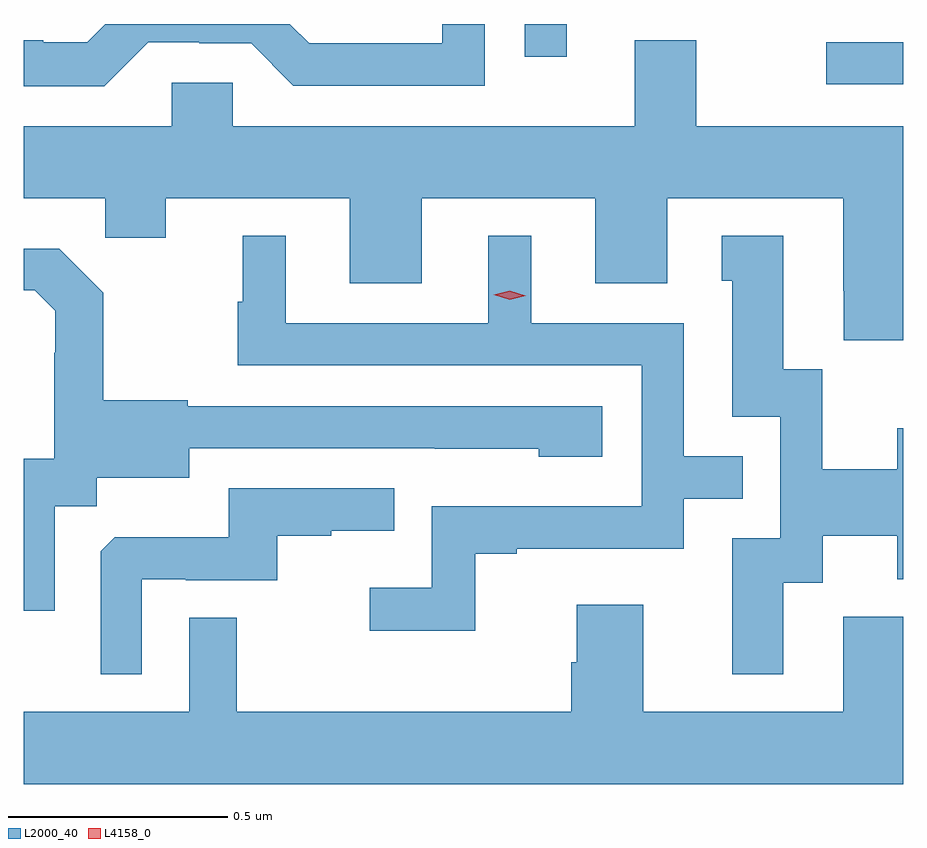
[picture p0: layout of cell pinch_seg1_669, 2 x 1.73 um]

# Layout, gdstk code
import gdstk
lib = gdstk.Library(unit=1e-6, precision=1e-09)
def R(c, l, rs):  # rectangles x0, y0, x1, y1
    for r in rs: c.add(gdstk.rectangle(r[:2], r[2:], *l))
def P(c, l, *ps):  # polygons
    for p in ps: c.add(gdstk.Polygon(p, *l))
L2000_40 = (2000, 40)
L4158_0 = (4158, 0)

pinch_seg1_669 = lib.new_cell('pinch_seg1_669')
R(pinch_seg1_669, L2000_40, [(815.421,575.967,815.596,576.063), (814.735,576.03,814.831,576.104)])
P(pinch_seg1_669, L2000_40, [(813.879,576.063),(813.995,576.063),(813.995,576.06),(814.113,576.06),(814.209,575.964),(814.644,575.964),(814.644,576.104),(814.548,576.104),(814.548,576.06),(814.245,576.06),(814.201,576.104),(813.782,576.104),(813.741,576.063),(813.641,576.063),(813.641,576.067),(813.596,576.067),(813.596,575.963),(813.779,575.963)],
  [(815.596,575.872),(815.125,575.872),(815.125,576.067),(814.985,576.067),(814.985,575.872),(814.071,575.872),(814.071,575.97),(813.933,575.97),(813.933,575.872),(813.596,575.872),(813.596,575.708),(813.781,575.708),(813.781,575.618),(813.919,575.618),(813.919,575.708),(814.337,575.708),(814.337,575.514),(814.501,575.514),(814.501,575.708),(814.895,575.708),(814.895,575.514),(815.059,575.514),(815.059,575.708),(815.459,575.708),(815.459,575.497),(815.46,575.497),(815.46,575.385),(815.596,575.385)],
  [(814.623,574.899),(814.717,574.899),(814.717,574.911),(815.097,574.911),(815.097,575.025),(815.231,575.025),(815.231,575.121),(815.097,575.121),(815.097,575.424),(814.75,575.424),(814.75,575.623),(814.652,575.623),(814.652,575.424),(814.192,575.424),(814.192,575.623),(814.094,575.623),(814.094,575.472),(814.083,575.472),(814.083,575.328),(815.001,575.328),(815.001,575.007),(814.524,575.007),(814.524,574.822),(814.383,574.822),(814.383,574.724),(814.623,574.724)],
  [(815.323,574.834),(815.413,574.834),(815.413,574.94),(815.582,574.94),(815.582,574.841),(815.596,574.841),(815.596,575.185),(815.582,575.185),(815.582,575.092),(815.412,575.092),(815.412,575.319),(815.323,575.319),(815.323,575.623),(815.183,575.623),(815.183,575.52),(815.207,575.52),(815.207,575.211),(815.316,575.211),(815.316,574.935),(815.207,574.935),(815.207,574.626),(815.323,574.626)],
  [(813.667,575.008),(813.762,575.008),(813.762,575.072),(813.973,575.072),(813.973,575.139),(814.531,575.139),(814.531,575.138),(814.767,575.138),(814.767,575.12),(814.912,575.12),(814.912,575.235),(813.969,575.235),(813.969,575.248),(813.777,575.248),(813.777,575.493),(813.677,575.593),(813.596,575.593),(813.596,575.499),(813.621,575.499),(813.668,575.452),(813.668,575.357),(813.666,575.357),(813.666,575.116),(813.596,575.116),(813.596,574.77),(813.667,574.77)],
  [(813.864,574.842),(813.964,574.842),(813.964,574.839),(814.172,574.839),(814.172,574.941),(814.295,574.941),(814.295,574.952),(814.439,574.952),(814.439,575.049),(814.062,575.049),(814.062,574.937),(813.803,574.937),(813.771,574.905),(813.771,574.625),(813.864,574.625)],
  [(815.596,574.756),(815.459,574.756),(815.459,574.54),(815.005,574.54),(815.005,574.783),(814.853,574.783),(814.853,574.653),(814.841,574.653),(814.841,574.54),(814.081,574.54),(814.081,574.754),(813.972,574.754),(813.972,574.54),(813.596,574.54),(813.596,574.376),(815.596,574.376)])
P(pinch_seg1_669, L4158_0, [(814.701,575.477),(814.665,575.488),(814.665,575.488),(814.665,575.488),(814.701,575.497),(814.737,575.486),(814.737,575.486),(814.737,575.486)])

lib.write_gds('pinch_seg1_669.gds')
